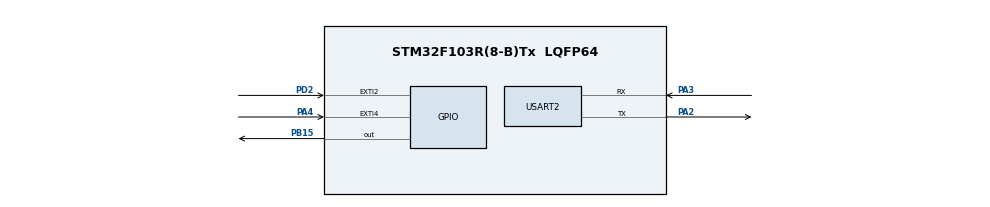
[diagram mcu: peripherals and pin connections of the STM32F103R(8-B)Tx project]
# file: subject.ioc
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Mcu.Family=STM32F1
Mcu.Name=STM32F103R(8-B)Tx
Mcu.Package=LQFP64
NVIC.EXTI2_IRQn=true\:0\:0\:false\:false\:true\:true\:true\:true
NVIC.EXTI4_IRQn=true\:0\:0\:false\:false\:true\:true\:true\:true
NVIC.PriorityGroup=NVIC_PRIORITYGROUP_4
NVIC.RCC_IRQn=true\:0\:0\:false\:false\:true\:true\:false\:true
NVIC.TIM2_IRQn=true\:0\:0\:false\:false\:true\:true\:true\:true
PA2.Mode=Asynchronous
PA2.Signal=USART2_TX
PA3.Mode=Asynchronous
PA3.Signal=USART2_RX
PA4.GPIO_ModeDefaultEXTI=GPIO_MODE_IT_FALLING
PA4.Signal=GPXTI4
PB15.Signal=GPIO_Output
PC14-OSC32_IN.Mode=LSE-External-Oscillator
PC14-OSC32_IN.Signal=RCC_OSC32_IN
PC15-OSC32_OUT.Mode=LSE-External-Oscillator
PC15-OSC32_OUT.Signal=RCC_OSC32_OUT
PD0-OSC_IN.Mode=HSE-External-Clock-Source
PD0-OSC_IN.Signal=RCC_OSC_IN
PD1-OSC_OUT.Mode=HSE-External-Clock-Source
PD1-OSC_OUT.Signal=RCC_OSC_OUT
PD2.GPIO_ModeDefaultEXTI=GPIO_MODE_IT_FALLING
PD2.Signal=GPXTI2
ProjectManager.HeapSize=0x200
ProjectManager.StackSize=0x400
ProjectManager.TargetToolchain=STM32CubeIDE
RCC.APB1Freq_Value=8000000
RCC.APB2Freq_Value=8000000
TIM2.Period=5000
TIM2.Prescaler=4000-1
USART2.VirtualMode=VM_ASYNC
VP_TIM2_VS_ClockSourceINT.Mode=Internal
board=custom

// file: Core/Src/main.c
/* USER CODE BEGIN Header */
/**
  ******************************************************************************
  * @file           : main.c
  * @brief          : Main program body
  ******************************************************************************
  * @attention
  *
  * Copyright (c) 2023 STMicroelectronics.
  * All rights reserved.
  *
  * This software is licensed under terms that can be found in the LICENSE file
  * in the root directory of this software component.
  * If no LICENSE file comes with this software, it is provided AS-IS.
  *
  ******************************************************************************
  */
/* USER CODE END Header */
#include "main.h"

/* USER CODE BEGIN PD */
#define STATE_IDLE 0
#define STATE_RUN 1

/* USER CODE END PD */

TIM_HandleTypeDef htim2;

UART_HandleTypeDef huart2;

/* USER CODE BEGIN PV */
uint8_t state = 0;
/* USER CODE END PV */

void SystemClock_Config(void);
static void MX_GPIO_Init(void);
static void MX_USART2_UART_Init(void);
static void MX_TIM2_Init(void);

/* USER CODE BEGIN 0 */
int __io_putchar(int ch) {
   HAL_UART_Transmit(&huart2, (uint8_t *)&ch, 1, 0xFFFF);  // 0xFFFF?�� 최�? ??�? ?���?
   if (ch == '\n') {
      HAL_UART_Transmit(&huart2, (uint8_t *)"\r", 1, 0xFFFF);
	   }
   return ch;
}
/* USER CODE END 0 */

int main(void)
{

  /* MCU Configuration--------------------------------------------------------*/

  /* Reset of all peripherals, Initializes the Flash interface and the Systick. */
  HAL_Init();

  /* Configure the system clock */
  SystemClock_Config();

  /* Initialize all configured peripherals */
  MX_GPIO_Init();
  MX_USART2_UART_Init();
  MX_TIM2_Init();
  /* USER CODE BEGIN 2 */
  HAL_TIM_Base_Start_IT(&htim2);
  /* USER CODE END 2 */

  /* Infinite loop */
  while (1)
  {

  }
}

void SystemClock_Config(void)
{
  RCC_OscInitTypeDef RCC_OscInitStruct = {0};
  RCC_ClkInitTypeDef RCC_ClkInitStruct = {0};

  /** Initializes the RCC Oscillators according to the specified parameters
  * in the RCC_OscInitTypeDef structure.
  */
  RCC_OscInitStruct.OscillatorType = RCC_OSCILLATORTYPE_HSI;
  RCC_OscInitStruct.HSIState = RCC_HSI_ON;
  RCC_OscInitStruct.HSICalibrationValue = RCC_HSICALIBRATION_DEFAULT;
  RCC_OscInitStruct.PLL.PLLState = RCC_PLL_NONE;
  if (HAL_RCC_OscConfig(&RCC_OscInitStruct) != HAL_OK)
  {
    Error_Handler();
  }

  /** Initializes the CPU, AHB and APB buses clocks
  */
  RCC_ClkInitStruct.ClockType = RCC_CLOCKTYPE_HCLK|RCC_CLOCKTYPE_SYSCLK
                              |RCC_CLOCKTYPE_PCLK1|RCC_CLOCKTYPE_PCLK2;
  RCC_ClkInitStruct.SYSCLKSource = RCC_SYSCLKSOURCE_HSI;
  RCC_ClkInitStruct.AHBCLKDivider = RCC_SYSCLK_DIV1;
  RCC_ClkInitStruct.APB1CLKDivider = RCC_HCLK_DIV1;
  RCC_ClkInitStruct.APB2CLKDivider = RCC_HCLK_DIV1;

  if (HAL_RCC_ClockConfig(&RCC_ClkInitStruct, FLASH_LATENCY_0) != HAL_OK)
  {
    Error_Handler();
  }
}

static void MX_TIM2_Init(void)
{

  TIM_ClockConfigTypeDef sClockSourceConfig = {0};
  TIM_MasterConfigTypeDef sMasterConfig = {0};

  htim2.Instance = TIM2;
  htim2.Init.Prescaler = 4000-1;
  htim2.Init.CounterMode = TIM_COUNTERMODE_UP;
  htim2.Init.Period = 5000;
  htim2.Init.ClockDivision = TIM_CLOCKDIVISION_DIV1;
  htim2.Init.AutoReloadPreload = TIM_AUTORELOAD_PRELOAD_DISABLE;
  if (HAL_TIM_Base_Init(&htim2) != HAL_OK)
  {
    Error_Handler();
  }
  sClockSourceConfig.ClockSource = TIM_CLOCKSOURCE_INTERNAL;
  if (HAL_TIM_ConfigClockSource(&htim2, &sClockSourceConfig) != HAL_OK)
  {
    Error_Handler();
  }
  sMasterConfig.MasterOutputTrigger = TIM_TRGO_RESET;
  sMasterConfig.MasterSlaveMode = TIM_MASTERSLAVEMODE_DISABLE;
  if (HAL_TIMEx_MasterConfigSynchronization(&htim2, &sMasterConfig) != HAL_OK)
  {
    Error_Handler();
  }

}

static void MX_USART2_UART_Init(void)
{

  huart2.Instance = USART2;
  huart2.Init.BaudRate = 115200;
  huart2.Init.WordLength = UART_WORDLENGTH_8B;
  huart2.Init.StopBits = UART_STOPBITS_1;
  huart2.Init.Parity = UART_PARITY_NONE;
  huart2.Init.Mode = UART_MODE_TX_RX;
  huart2.Init.HwFlowCtl = UART_HWCONTROL_NONE;
  huart2.Init.OverSampling = UART_OVERSAMPLING_16;
  if (HAL_UART_Init(&huart2) != HAL_OK)
  {
    Error_Handler();
  }

}

static void MX_GPIO_Init(void)
{
  GPIO_InitTypeDef GPIO_InitStruct = {0};

  /* GPIO Ports Clock Enable */
  __HAL_RCC_GPIOC_CLK_ENABLE();
  __HAL_RCC_GPIOD_CLK_ENABLE();
  __HAL_RCC_GPIOA_CLK_ENABLE();
  __HAL_RCC_GPIOB_CLK_ENABLE();

  /*Configure GPIO pin Output Level */
  HAL_GPIO_WritePin(GPIOB, GPIO_PIN_15, GPIO_PIN_RESET);

  /*Configure GPIO pin : PA4 */
  GPIO_InitStruct.Pin = GPIO_PIN_4;
  GPIO_InitStruct.Mode = GPIO_MODE_IT_FALLING;
  GPIO_InitStruct.Pull = GPIO_NOPULL;
  HAL_GPIO_Init(GPIOA, &GPIO_InitStruct);

  /*Configure GPIO pin : PB15 */
  GPIO_InitStruct.Pin = GPIO_PIN_15;
  GPIO_InitStruct.Mode = GPIO_MODE_OUTPUT_PP;
  GPIO_InitStruct.Pull = GPIO_NOPULL;
  GPIO_InitStruct.Speed = GPIO_SPEED_FREQ_LOW;
  HAL_GPIO_Init(GPIOB, &GPIO_InitStruct);

  /*Configure GPIO pin : PD2 */
  GPIO_InitStruct.Pin = GPIO_PIN_2;
  GPIO_InitStruct.Mode = GPIO_MODE_IT_FALLING;
  GPIO_InitStruct.Pull = GPIO_NOPULL;
  HAL_GPIO_Init(GPIOD, &GPIO_InitStruct);

  /* EXTI interrupt init*/
  HAL_NVIC_SetPriority(EXTI2_IRQn, 0, 0);
  HAL_NVIC_EnableIRQ(EXTI2_IRQn);

  HAL_NVIC_SetPriority(EXTI4_IRQn, 0, 0);
  HAL_NVIC_EnableIRQ(EXTI4_IRQn);

}

/* USER CODE BEGIN 4 */
void HAL_GPIO_EXTI_Callback(uint16_t GPIO_Pin) {
  if (!HAL_GPIO_ReadPin(GPIOD, GPIO_PIN_2)) {
    if (state == STATE_IDLE) {
      state = STATE_RUN;
      __HAL_TIM_SET_COUNTER(&htim2, 0);
      HAL_TIM_Base_Start_IT(&htim2);
      HAL_GPIO_WritePin(GPIOB, GPIO_PIN_15, GPIO_PIN_SET);
      printf("LED ON!\n");
    }
  }
  if (!HAL_GPIO_ReadPin(GPIOA, GPIO_PIN_4)) {
    if (state == STATE_RUN){
      state = STATE_IDLE;
      HAL_TIM_Base_Stop_IT(&htim2);
      HAL_GPIO_WritePin(GPIOB, GPIO_PIN_15, GPIO_PIN_RESET);
      printf("LED OFF! LED ON Time = %ld(ms)\n\n", __HAL_TIM_GET_COUNTER(&htim2));
    }
  }
}
void HAL_TIM_PeriodElapsedCallback(TIM_HandleTypeDef *htim) {
  if (htim == &htim2) {
    state = STATE_IDLE;
    HAL_TIM_Base_Stop_IT(&htim2);
    HAL_GPIO_WritePin(GPIOB, GPIO_PIN_15, GPIO_PIN_RESET);
    printf("LED OFF! LED ON Time = %d(ms)\n\n", 5000);
  }
}

/* USER CODE END 4 */

void Error_Handler(void)
{
  __disable_irq();
  while (1)
  {
  }
}
